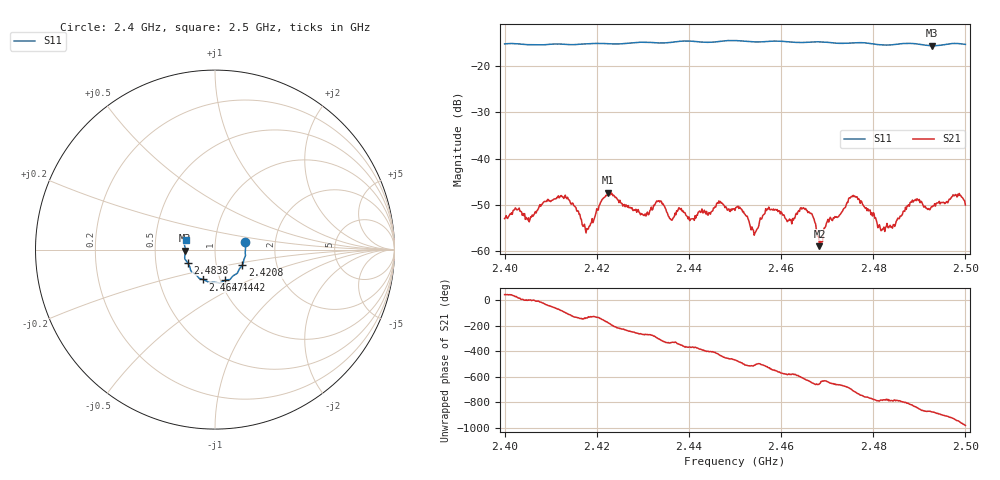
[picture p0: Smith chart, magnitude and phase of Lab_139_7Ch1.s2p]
# Hz S RI R 50
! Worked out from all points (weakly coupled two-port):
!   601 points, 2.4 GHz to 2.5 GHz, reference 50 ohm
!   highest |S21| = -47.37 dB at 2.4225 GHz (marker M1); lowest = -58.9 dB at 2.4683 GHz (marker M2)
!   lowest |S11| = -15.6 dB at 2.4928 GHz (marker M3), VSWR 1.40, Z = 35.8 - j0.395 ohm
!   |S11| at or under -10 dB: start of sweep to end of sweep
!   S12 and S22 are empty: the file has one direction only
!   S11 on the Smith chart (normalised r, x): 2.4 GHz: 1.40, +0.12; 2.4208 GHz: 1.33, -0.24; 2.4442 GHz: 1.05, -0.37; 2.4647 GHz: 0.83, -0.29; 2.4838 GHz: 0.73, -0.11; 2.5 GHz: 0.72, +0.08
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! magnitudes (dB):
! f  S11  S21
! 2.4 GHz  -15.2  -52.9
! 2.4127 GHz  -15.3  -48.3
! 2.4167 GHz  -15.3  -53.1
! 2.4182 GHz  -15.2  -55.2
! 2.4208 GHz  -15.1  -49.4
! 2.4225 GHz  -15.2  -47.4
! 2.4302 GHz  -14.8  -52.3
! 2.4333 GHz  -15.0  -49.1
! 2.4362 GHz  -14.9  -53.2
! 2.4442 GHz  -14.9  -52.2
! 2.45 GHz  -14.5  -51.2
! 2.4543 GHz  -14.8  -56.0
! 2.4572 GHz  -14.7  -50.9
! 2.4647 GHz  -14.9  -50.8
! 2.4667 GHz  -14.8  -51.9
! 2.4683 GHz  -14.8  -58.9
! 2.4755 GHz  -15.0  -48.2
! 2.4833 GHz  -15.5  -54.9
! 2.4838 GHz  -15.4  -54.8
! 2.4887 GHz  -15.1  -49.4
! 2.4928 GHz  -15.6  -50.4
! 2.5 GHz  -15.3  -50.0
